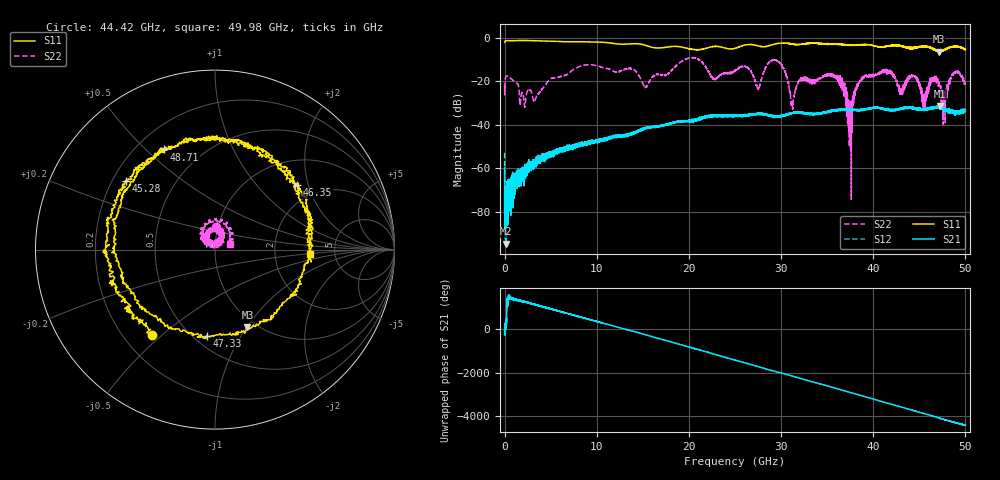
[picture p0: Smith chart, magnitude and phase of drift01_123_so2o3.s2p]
!Created with skrf (http://scikit-rf.org).
# Hz S RI R 50.0
!freq ReS11 ImS11 ReS21 ImS21 ReS12 ImS12 ReS22 ImS22
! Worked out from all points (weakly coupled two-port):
!   10001 points, 300 kHz to 50 GHz, reference 50 ohm
!   highest |S21| = -31.47 dB at 47.2 GHz (marker M1); lowest = -94.6 dB at 135.3 MHz (marker M2)
!   lowest |S11| = -6.6 dB at 47.15 GHz (marker M3), VSWR 2.77, Z = 45.4 - j50.4 ohm
!   |S11| at or under -10 dB: nowhere
!   |S22| runs from -74.3 to -9.2 dB; largest |S21 - S12| = 0.0039
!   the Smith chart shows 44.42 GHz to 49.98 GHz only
!   S11 on the Smith chart (normalised r, x): 44.42 GHz: 0.32, -0.46; 45.28 GHz: 0.25, +0.32; 46.35 GHz: 1.57, +1.70; 47.33 GHz: 0.58, -0.73; 48.71 GHz: 0.31, +0.57; 49.98 GHz: 3.24, -0.24
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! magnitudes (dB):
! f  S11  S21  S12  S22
! 300 kHz  -2.2  -59.8  -52.9  -22.1
! 135.3 MHz  -1.5  -94.6  -83.4  -17.9
! 3.29 GHz  -1.5  -57.9  -57.0  -28.8
! 8.335 GHz  -1.9  -48.8  -49.2  -12.9
! 16.67 GHz  -4.8  -40.8  -40.7  -16.7
! 25 GHz  -5.0  -35.4  -35.8  -15.4
! 29.58 GHz  -2.8  -36.5  -36.1  -10.6
! 31.24 GHz  -2.9  -34.7  -34.5  -32.4
! 33.34 GHz  -2.6  -35.1  -35.1  -19.3
! 36.21 GHz  -2.9  -33.1  -33.2  -19.8
! 37.47 GHz  -3.6  -33.1  -33.1  -29.6
! 38.65 GHz  -3.3  -33.4  -33.2  -19.9
! 41.67 GHz  -3.8  -33.0  -33.2  -16.6
! 44.42 GHz  -4.6  -32.7  -32.6  -17.9
! 45.28 GHz  -4.0  -33.4  -32.8  -24.8
! 46.35 GHz  -4.7  -32.5  -32.2  -18.9
! 47.15 GHz  -6.6  -31.9  -32.1  -20.7
! 47.2 GHz  -6.3  -31.5  -32.1  -23.0
! 47.33 GHz  -6.3  -32.2  -32.5  -22.9
! 48.71 GHz  -4.1  -34.5  -34.1  -16.2
! 49.98 GHz  -5.5  -33.5  -33.3  -20.9
! 50 GHz  -5.4  -33.5  -33.4  -21.5
